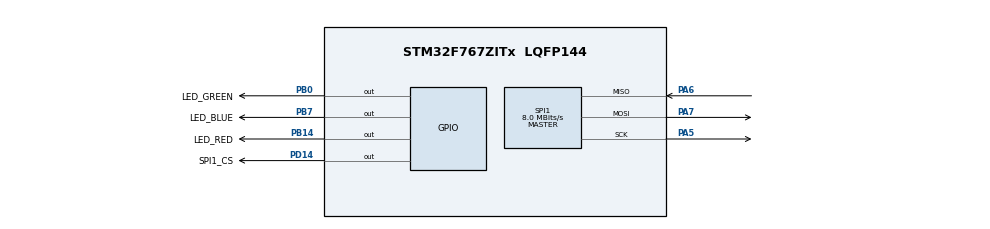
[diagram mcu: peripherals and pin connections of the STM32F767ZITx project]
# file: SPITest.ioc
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FREERTOS.Tasks01=idleTask,-3,128,StartIdleTask,Default,NULL,Dynamic,NULL,NULL;sendSPITask,0,128,StartSendSPITask,Default,NULL,Dynamic,NULL,NULL
FREERTOS.Timers01=osTimer2Hz,osTimer2Hz_callback,osTimerPeriodic,Default,NULL,Dynamic,NULL
FREERTOS.configUSE_TIMERS=1
Mcu.Family=STM32F7
Mcu.Name=STM32F767ZITx
Mcu.Package=LQFP144
NVIC.PriorityGroup=NVIC_PRIORITYGROUP_4
NVIC.TIM1_UP_TIM10_IRQn=true\:15\:0\:false\:false\:true\:false\:false\:true\:true
NVIC.TimeBase=TIM1_UP_TIM10_IRQn
NVIC.TimeBaseIP=TIM1
PA5.Mode=Full_Duplex_Master
PA5.Signal=SPI1_SCK
PA6.Mode=Full_Duplex_Master
PA6.Signal=SPI1_MISO
PA7.Mode=Full_Duplex_Master
PA7.Signal=SPI1_MOSI
PB0.GPIO_Label=LED_GREEN
PB0.GPIO_PuPd=GPIO_NOPULL
PB0.PinState=GPIO_PIN_RESET
PB0.Signal=GPIO_Output
PB14.GPIO_Label=LED_RED
PB14.Signal=GPIO_Output
PB7.GPIO_Label=LED_BLUE
PB7.Signal=GPIO_Output
PD14.GPIO_Label=SPI1_CS
PD14.PinState=GPIO_PIN_SET
PD14.Signal=GPIO_Output
ProjectManager.HeapSize=0x200
ProjectManager.StackSize=0x400
ProjectManager.TargetToolchain=MDK-ARM V5.32
RCC.HSE_VALUE=25000000
RCC.HSI_VALUE=16000000
RCC.LSE_VALUE=32768
RCC.USBFreq_Value=96000000
RCC.VCOOutputFreq_Value=192000000
SPI1.CalculateBaudRate=8.0 MBits/s
SPI1.Direction=SPI_DIRECTION_2LINES
SPI1.Mode=SPI_MODE_MASTER
SPI1.VirtualType=VM_MASTER
VP_FREERTOS_VS_CMSIS_V1.Mode=CMSIS_V1
VP_SYS_VS_tim1.Mode=TIM1
board=custom

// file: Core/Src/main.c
/* USER CODE BEGIN Header */
/**
  ******************************************************************************
  * @file           : main.c
  * @brief          : Main program body
  ******************************************************************************
  * @attention
  *
  * Copyright (c) 2023 STMicroelectronics.
  * All rights reserved.
  *
  * This software is licensed under terms that can be found in the LICENSE file
  * in the root directory of this software component.
  * If no LICENSE file comes with this software, it is provided AS-IS.
  *
  ******************************************************************************
  */
/* USER CODE END Header */
#include "main.h"
#include "cmsis_os.h"
#include "spi.h"
#include "gpio.h"

void SystemClock_Config(void);
void MX_FREERTOS_Init(void);

/* USER CODE BEGIN 0 */
void SetIdleLED() {
	HAL_GPIO_WritePin(LED_RED_GPIO_Port, LED_RED_Pin, GPIO_PIN_SET);
}
void SetLoadLED(uint8_t isWorking) {
	if (isWorking) {
		HAL_GPIO_WritePin(LED_BLUE_GPIO_Port, LED_BLUE_Pin, GPIO_PIN_SET);
		HAL_GPIO_WritePin(LED_RED_GPIO_Port, LED_RED_Pin, GPIO_PIN_RESET);
	}
	else {
		HAL_GPIO_WritePin(LED_BLUE_GPIO_Port, LED_BLUE_Pin, GPIO_PIN_RESET);
	}
}
void SetAliveLED() {
	HAL_GPIO_TogglePin(LED_GREEN_GPIO_Port, LED_GREEN_Pin);
}
/* USER CODE END 0 */

int main(void)
{

  /* MCU Configuration--------------------------------------------------------*/

  /* Reset of all peripherals, Initializes the Flash interface and the Systick. */
  HAL_Init();

  /* Configure the system clock */
  SystemClock_Config();

  /* Initialize all configured peripherals */
  MX_GPIO_Init();
  MX_SPI1_Init();

  /* Call init function for freertos objects (in freertos.c) */
  MX_FREERTOS_Init();

  /* Start scheduler */
  osKernelStart();

  /* We should never get here as control is now taken by the scheduler */
  /* Infinite loop */
  while (1)
  {

  }
}

void SystemClock_Config(void)
{
  RCC_OscInitTypeDef RCC_OscInitStruct = {0};
  RCC_ClkInitTypeDef RCC_ClkInitStruct = {0};

  /** Configure the main internal regulator output voltage
  */
  __HAL_RCC_PWR_CLK_ENABLE();
  __HAL_PWR_VOLTAGESCALING_CONFIG(PWR_REGULATOR_VOLTAGE_SCALE3);

  /** Initializes the RCC Oscillators according to the specified parameters
  * in the RCC_OscInitTypeDef structure.
  */
  RCC_OscInitStruct.OscillatorType = RCC_OSCILLATORTYPE_HSI;
  RCC_OscInitStruct.HSIState = RCC_HSI_ON;
  RCC_OscInitStruct.HSICalibrationValue = RCC_HSICALIBRATION_DEFAULT;
  RCC_OscInitStruct.PLL.PLLState = RCC_PLL_NONE;
  if (HAL_RCC_OscConfig(&RCC_OscInitStruct) != HAL_OK)
  {
    Error_Handler();
  }

  /** Initializes the CPU, AHB and APB buses clocks
  */
  RCC_ClkInitStruct.ClockType = RCC_CLOCKTYPE_HCLK|RCC_CLOCKTYPE_SYSCLK
                              |RCC_CLOCKTYPE_PCLK1|RCC_CLOCKTYPE_PCLK2;
  RCC_ClkInitStruct.SYSCLKSource = RCC_SYSCLKSOURCE_HSI;
  RCC_ClkInitStruct.AHBCLKDivider = RCC_SYSCLK_DIV1;
  RCC_ClkInitStruct.APB1CLKDivider = RCC_HCLK_DIV1;
  RCC_ClkInitStruct.APB2CLKDivider = RCC_HCLK_DIV1;

  if (HAL_RCC_ClockConfig(&RCC_ClkInitStruct, FLASH_LATENCY_0) != HAL_OK)
  {
    Error_Handler();
  }
}

void HAL_TIM_PeriodElapsedCallback(TIM_HandleTypeDef *htim)
{
  if (htim->Instance == TIM1) {
    HAL_IncTick();
  }
}

void Error_Handler(void)
{
  __disable_irq();
  while (1)
  {
  }
}

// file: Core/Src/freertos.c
/* USER CODE BEGIN Header */
/**
  ******************************************************************************
  * File Name          : freertos.c
  * Description        : Code for freertos applications
  ******************************************************************************
  * @attention
  *
  * Copyright (c) 2023 STMicroelectronics.
  * All rights reserved.
  *
  * This software is licensed under terms that can be found in the LICENSE file
  * in the root directory of this software component.
  * If no LICENSE file comes with this software, it is provided AS-IS.
  *
  ******************************************************************************
  */
/* USER CODE END Header */

#include "FreeRTOS.h"
#include "task.h"
#include "main.h"
#include "cmsis_os.h"

/* USER CODE BEGIN Includes */
#include "spi.h"
/* USER CODE END Includes */

osThreadId idleTaskHandle;
osThreadId sendSPITaskHandle;
osTimerId osTimer2HzHandle;

void StartIdleTask(void const * argument);
void StartSendSPITask(void const * argument);
void osTimer2Hz_callback(void const * argument);

void MX_FREERTOS_Init(void); /* (MISRA C 2004 rule 8.1) */

/* GetIdleTaskMemory prototype (linked to static allocation support) */
void vApplicationGetIdleTaskMemory( StaticTask_t **ppxIdleTaskTCBBuffer, StackType_t **ppxIdleTaskStackBuffer, uint32_t *pulIdleTaskStackSize );

/* GetTimerTaskMemory prototype (linked to static allocation support) */
void vApplicationGetTimerTaskMemory( StaticTask_t **ppxTimerTaskTCBBuffer, StackType_t **ppxTimerTaskStackBuffer, uint32_t *pulTimerTaskStackSize );

/* USER CODE BEGIN GET_IDLE_TASK_MEMORY */
static StaticTask_t xIdleTaskTCBBuffer;
static StackType_t xIdleStack[configMINIMAL_STACK_SIZE];

void vApplicationGetIdleTaskMemory( StaticTask_t **ppxIdleTaskTCBBuffer, StackType_t **ppxIdleTaskStackBuffer, uint32_t *pulIdleTaskStackSize )
{
  *ppxIdleTaskTCBBuffer = &xIdleTaskTCBBuffer;
  *ppxIdleTaskStackBuffer = &xIdleStack[0];
  *pulIdleTaskStackSize = configMINIMAL_STACK_SIZE;
  /* place for user code */
}
/* USER CODE END GET_IDLE_TASK_MEMORY */

/* USER CODE BEGIN GET_TIMER_TASK_MEMORY */
static StaticTask_t xTimerTaskTCBBuffer;
static StackType_t xTimerStack[configTIMER_TASK_STACK_DEPTH];

void vApplicationGetTimerTaskMemory( StaticTask_t **ppxTimerTaskTCBBuffer, StackType_t **ppxTimerTaskStackBuffer, uint32_t *pulTimerTaskStackSize )
{
  *ppxTimerTaskTCBBuffer = &xTimerTaskTCBBuffer;
  *ppxTimerTaskStackBuffer = &xTimerStack[0];
  *pulTimerTaskStackSize = configTIMER_TASK_STACK_DEPTH;
  /* place for user code */
}
/* USER CODE END GET_TIMER_TASK_MEMORY */

void MX_FREERTOS_Init(void) {

  /* Create the timer(s) */
  /* definition and creation of osTimer2Hz */
  osTimerDef(osTimer2Hz, osTimer2Hz_callback);
  osTimer2HzHandle = osTimerCreate(osTimer(osTimer2Hz), osTimerPeriodic, NULL);

  /* USER CODE BEGIN RTOS_TIMERS */
	osTimerStart(osTimer2HzHandle, 500);
  /* start timers, add new ones, ... */
  /* USER CODE END RTOS_TIMERS */

  /* Create the thread(s) */
  /* definition and creation of idleTask */
  osThreadDef(idleTask, StartIdleTask, osPriorityIdle, 0, 128);
  idleTaskHandle = osThreadCreate(osThread(idleTask), NULL);

  /* definition and creation of sendSPITask */
  osThreadDef(sendSPITask, StartSendSPITask, osPriorityNormal, 0, 128);
  sendSPITaskHandle = osThreadCreate(osThread(sendSPITask), NULL);

}

void StartIdleTask(void const * argument)
{
  /* USER CODE BEGIN StartIdleTask */
  /* Infinite loop */
  for(;;)
  {
		SetIdleLED();
		osDelay(1000);
  }
  /* USER CODE END StartIdleTask */
}

void StartSendSPITask(void const * argument)
{
  /* USER CODE BEGIN StartSendSPITask */
  /* Infinite loop */
	for(;;)
  {
		SetLoadLED(1);

		uint8_t sendData[3] = {0xA, 0xA, 0xA};
		uint8_t receiveData[3];
		HAL_GPIO_WritePin(SPI1_CS_GPIO_Port, SPI1_CS_Pin, GPIO_PIN_RESET);
		HAL_SPI_TransmitReceive(&hspi1, sendData, receiveData, 3, 1000);
		HAL_GPIO_WritePin(SPI1_CS_GPIO_Port, SPI1_CS_Pin, GPIO_PIN_SET);

		SetLoadLED(0);
    osDelay(100);
  }
  /* USER CODE END StartSendSPITask */
}

/* osTimer2Hz_callback function */
void osTimer2Hz_callback(void const * argument)
{
  /* USER CODE BEGIN osTimer2Hz_callback */
	SetAliveLED();
  /* USER CODE END osTimer2Hz_callback */
}
